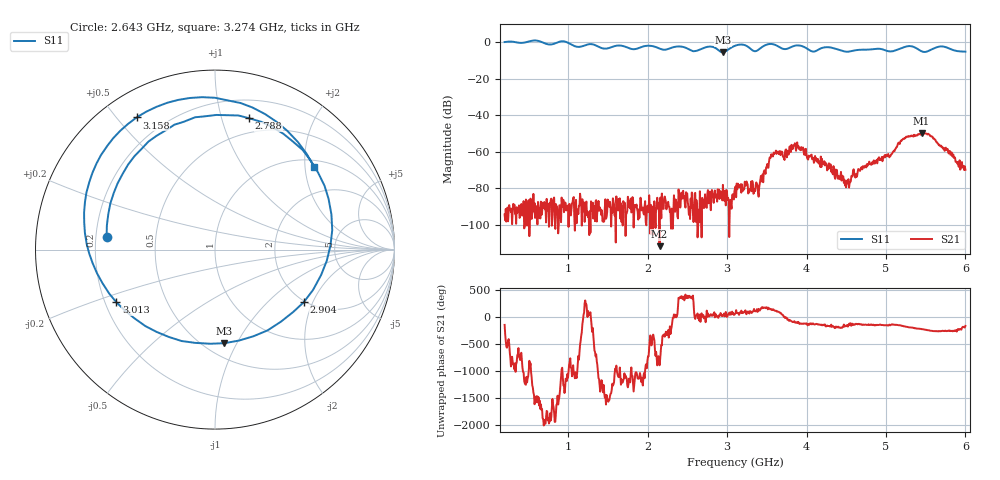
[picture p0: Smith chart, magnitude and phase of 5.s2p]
! NanoVNA-App by OneOfEleven et al v1.1.209 (+OD15)
! Date: 2024-07-30 15:17:47
! Start: 200MHz Stop: 6GHz Points: 801
! S-Parameter data: F S11 S21 S12 S22
# Hz S RI R 50
!  Frequency  S11_Real  S11_Imag  S21_Real  S21_Imag  S12_Real  S12_Imag  S22_Real  S22_Imag
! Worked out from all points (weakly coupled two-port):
!   801 points, 200 MHz to 6 GHz, reference 50 ohm
!   highest |S21| = -49.95 dB at 5.449 GHz (marker M1); lowest = -111.8 dB at 2.15 GHz (marker M2)
!   lowest |S11| = -5.6 dB at 2.948 GHz (marker M3), VSWR 3.20, Z = 31 - j44.6 ohm
!   |S11| at or under -10 dB: nowhere
!   S12 and S22 are empty: the file has one direction only
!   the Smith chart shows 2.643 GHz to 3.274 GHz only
!   S11 on the Smith chart (normalised r, x): 2.643 GHz: 0.24, +0.05; 2.788 GHz: 0.36, +1.23; 2.904 GHz: 1.97, -1.72; 3.013 GHz: 0.25, -0.24; 3.158 GHz: 0.10, +0.56; 3.274 GHz: 1.18, +2.24
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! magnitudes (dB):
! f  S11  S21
! 200 MHz  0.0  -94.4
! 1.171 GHz  -2.3  -100.5
! 2.136 GHz  -3.2  -88.0
! 2.15 GHz  -3.5  -111.8
! 2.643 GHz  -4.3  -91.8
! 2.788 GHz  -2.4  -86.6
! 2.904 GHz  -4.8  -85.9
! 2.948 GHz  -5.6  -78.2
! 3.013 GHz  -4.1  -85.3
! 3.1 GHz  -2.0  -80.2
! 3.158 GHz  -1.3  -78.5
! 3.274 GHz  -2.9  -81.7
! 3.412 GHz  -3.6  -77.4
! 3.615 GHz  -1.7  -59.4
! 3.869 GHz  -1.8  -59.5
! 4.072 GHz  -5.1  -64.2
! 4.514 GHz  -5.3  -77.4
! 4.681 GHz  -4.2  -69.6
! 5.036 GHz  -5.0  -62.5
! 5.239 GHz  -2.6  -52.5
! 5.449 GHz  -5.0  -49.9
! 6 GHz  -5.2  -69.9
